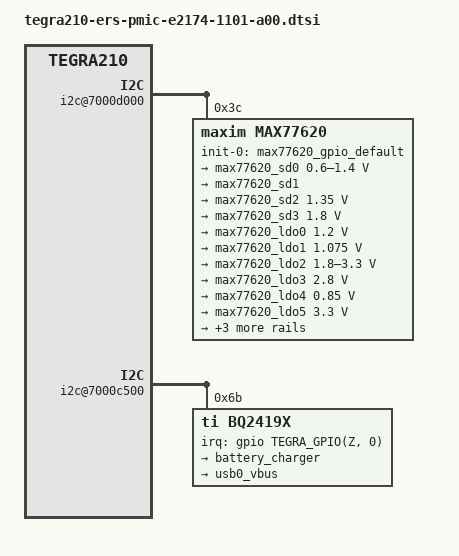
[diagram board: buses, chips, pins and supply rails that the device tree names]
/*
 * Copyright (c) 2014-2016, NVIDIA CORPORATION.  All rights reserved.
 *
 * This program is free software; you can redistribute it and/or modify
 * it under the terms of the GNU General Public License as published by
 * the Free Software Foundation; either version 2 of the License, or
 * (at your option) any later version.
 *
 * This program is distributed in the hope that it will be useful, but WITHOUT
 * ANY WARRANTY; without even the implied warranty of MERCHANTABILITY or
 * FITNESS FOR A PARTICULAR PURPOSE.  See the GNU General Public License for
 * more details.
 *
 * You should have received a copy of the GNU General Public License
 * along with this program.  If not, see <http://www.gnu.org/licenses/>.
 */

#include <dt-bindings/mfd/max77620.h>
#include <dt-bindings/regulator/regulator.h>
#include <dt-bindings/gpio/tegra-gpio.h>
#include <dt-bindings/thermal/thermal.h>
#include <dt-bindings/interrupt-controller/irq.h>

/ {
	i2c@7000d000 {
		nvidia,bit-banging-xfer-after-shutdown;

		cpu_max77621_reg: max77621@1b {
			compatible = "maxim,max77621";
			reg = <0x1b>;
			interrupts = <0 86 0>;
			interrupt-flags = <IRQF_SHARED>;
			status = "disabled";
			regulator-name = "vdd-cpu";
			regulator-min-microvolt = <606250>;
			regulator-max-microvolt = <1400000>;
			regulator-n-voltages = <128>;
			regulator-boot-on;
			regulator-always-on;
			#thermal-sensor-cells = <0>;
			maxim,externally-enable;
			maxim,sleep-on-dvs;
			maxim,dvs-default-state = <1>;
			maxim,enable-gpio = <&max77620 5 0>;
		};

		gpu_max77621_reg: max77621@1c {
			compatible = "maxim,max77621";
			reg = <0x1c>;
			interrupts = <0 86 0>;
			interrupt-flags = <IRQF_SHARED>;
			status = "disabled";
			regulator-name = "vdd-gpu";
			regulator-min-microvolt = <606250>;
			regulator-max-microvolt = <1400000>;
			regulator-init-microvolt = <1000000>;
			regulator-enable-ramp-delay = <200>;
			regulator-disable-ramp-delay = <60000>;
			regulator-boot-off;
			regulator-ramp-delay = <12000>;
			#thermal-sensor-cells = <0>;
			maxim,enable-active-discharge;
			maxim,enable-bias-control;
			maxim,dvs-default-state = <1>;
			maxim,enable-gpio = <&max77620 6 0>;
		};

		max77620: max77620@3c {
			compatible = "maxim,max77620";
			reg = <0x3c>;
			interrupts = <0 86 IRQ_TYPE_NONE>;

			#interrupt-cells = <2>;
                        interrupt-controller;

			gpio-controller;
			#gpio-cells = <2>;

			maxim,enable-clock32k-out;

			maxim,system-pmic-power-off;

			maxim,hot-die-threshold-temp = <110000>;
			#thermal-sensor-cells = <0>;

			pinctrl-names = "default";
			pinctrl-0 = <&max77620_default>;

			gpio-init-names = "default";
			gpio-init-0 = <&max77620_gpio_default>;

			max77620_default: pinmux@0 {
				pin_gpio0 {
					pins = "gpio0";
					function = "gpio";
				};

				pin_gpio1 {
					pins = "gpio1";
					function = "fps-out";
					drive-push-pull = <1>;
					maxim,active-fps-source = <MAX77620_FPS_SRC_0>;
					maxim,active-fps-power-up-slot = <7>;
					maxim,active-fps-power-down-slot = <0>;
				};

				pin_gpio2_3 {
					pins = "gpio2", "gpio3";
					function = "fps-out";
					drive-open-drain = <1>;
					maxim,active-fps-source = <MAX77620_FPS_SRC_0>;
				};

				pin_gpio4 {
					pins = "gpio4";
					function = "32k-out1";
				};

				pin_gpio5_6_7 {
					pins = "gpio5", "gpio6", "gpio7";
					function = "gpio";
					drive-push-pull = <1>;
				};
			};

			max77620_gpio_default:gpio_default {
				gpio-output-high = <2 7>;
			};

			watchdog {
				maxim,wdt-timeout = <16>;
				maxim,wdt-clear-time = <13>;
				status = "disabled";
				dt-override-status-odm-data = <0x00020000 0x00020000>;
			};

			fps {
				#address-cells = <1>;
				#size-cells = <0>;
				fps0 {
					reg = <0>;
					maxim,shutdown-fps-time-periodi-us = <5120>;
					maxim,fps-event-source = <MAX77620_FPS_EVENT_SRC_EN0>;
				};

				fps1 {
					reg = <1>;
					maxim,shutdown-fps-time-period-us = <5120>;
					maxim,fps-event-source = <MAX77620_FPS_EVENT_SRC_EN1>;
					maxim,device-state-on-disabled-event = <MAX77620_FPS_INACTIVE_STATE_SLEEP>;
				};

				fps2 {
					reg = <2>;
					maxim,fps-event-source = <MAX77620_FPS_EVENT_SRC_EN0>;
				};
			};

			backup-battery {
				maxim,backup-battery-charging-current = <100>;
				maxim,backup-battery-charging-voltage = <3000000>;
				maxim,backup-battery-output-resister = <100>;
			};

			regulators {
				in-ldo0-1-supply = <&max77620_sd2>;
				in-ldo7-8-supply = <&max77620_sd2>;

				max77620_sd0: sd0 {
					regulator-name = "vdd_core";
					regulator-min-microvolt = <600000>;
					regulator-max-microvolt = <1400000>;
					regulator-boot-on;
					regulator-always-on;
					maxim,active-fps-source = <MAX77620_FPS_SRC_1>;
					regulator-init-mode = <REGULATOR_MODE_NORMAL>;
					maxim,active-fps-power-up-slot = <0>;
				};

				max77620_sd1: sd1 {
					regulator-name = "vddio-ddr";
					regulator-always-on;
					regulator-boot-on;
					regulator-init-mode = <REGULATOR_MODE_NORMAL>;
					maxim,active-fps-source = <MAX77620_FPS_SRC_0>;
				};

				max77620_sd2: sd2 {
					regulator-name = "vdd-pre-reg";
					regulator-min-microvolt = <1350000>;
					regulator-max-microvolt = <1350000>;
					regulator-always-on;
					regulator-boot-on;
					maxim,active-fps-source = <MAX77620_FPS_SRC_NONE>;
				};

				max77620_sd3: sd3 {
					regulator-name = "vdd-1v8";
					regulator-min-microvolt = <1800000>;
					regulator-max-microvolt = <1800000>;
					regulator-always-on;
					regulator-boot-on;
					maxim,active-fps-source = <MAX77620_FPS_SRC_0>;
					regulator-init-mode = <REGULATOR_MODE_NORMAL>;
					consumers {
						c8 {
							regulator-consumer-supply = "avdd_pll_utmip";
							regulator-consumer-device = "tegra-ehci.1";
						};
						c9 {
							regulator-consumer-supply = "avdd_pll_utmip";
							regulator-consumer-device = "tegra-ehci.2";
						};
						c18 {
							regulator-consumer-supply = "vdd";
							regulator-consumer-device = "2-004c";
						};
						c19 {
							regulator-consumer-supply = "vdd";
							regulator-consumer-device = "0-004c";
						};
					};
				};

				max77620_ldo0: ldo0 {
					regulator-name = "avdd-sys";
					regulator-min-microvolt = <1200000>;
					regulator-max-microvolt = <1200000>;
					regulator-boot-on;
					maxim,active-fps-source = <MAX77620_FPS_SRC_NONE>;
					consumers {
						c0 {
							regulator-consumer-supply = "vddio_hsic";
							regulator-consumer-device = "tegra-ehci.1";
						};
						c1 {
							regulator-consumer-supply = "vddio_hsic";
							regulator-consumer-device = "tegra-ehci.2";
						};
					};
				};

				max77620_ldo1: ldo1 {
					regulator-name = "vdd-pex";
					regulator-min-microvolt = <1075000>;
					regulator-max-microvolt = <1075000>;
					regulator-always-on;
					maxim,active-fps-source = <MAX77620_FPS_SRC_1>;
				};

				max77620_ldo2: ldo2 {
					regulator-name = "vddio-sdmmc3";
					regulator-min-microvolt = <1800000>;
					regulator-max-microvolt = <3300000>;
					maxim,active-fps-source = <MAX77620_FPS_SRC_NONE>;
				};

				max77620_ldo3: ldo3 {
					regulator-name = "vdd-cam-hv";
					regulator-min-microvolt = <2800000>;
					regulator-max-microvolt = <2800000>;
					maxim,active-fps-source = <MAX77620_FPS_SRC_NONE>;
					consumers {
						c0 {
							regulator-consumer-supply = "vana";
						};
					};
				};

				max77620_ldo4: ldo4 {
					regulator-name = "vdd-rtc";
					regulator-min-microvolt = <850000>;
					regulator-max-microvolt = <850000>;
					regulator-always-on;
					regulator-boot-on;
					maxim,active-fps-source = <MAX77620_FPS_SRC_0>;
				};

				max77620_ldo5: ldo5 {
					regulator-name = "avdd-ts-hv";
					regulator-min-microvolt = <3300000>;
					regulator-max-microvolt = <3300000>;
					maxim,active-fps-source = <MAX77620_FPS_SRC_NONE>;
					consumers {
						c1 {
							regulator-consumer-supply = "avdd";
							regulator-consumer-device = "spi3.0";
						};
					};
				};

				max77620_ldo6: ldo6 {
					regulator-name = "vdd-ts";
					regulator-min-microvolt = <1800000>;
					regulator-max-microvolt = <1800000>;
					regulator-boot-on;
					maxim,active-fps-source = <MAX77620_FPS_SRC_NONE>;
					consumers {
						c1 {
							regulator-consumer-supply = "dvdd";
							regulator-consumer-device = "spi3.0";
						};
					};
				};

				max77620_ldo7: ldo7 {
					regulator-name = "vdd-gen-pll-edp";
					regulator-min-microvolt = <1050000>;
					regulator-max-microvolt = <1050000>;
					regulator-always-on;
					regulator-boot-on;
					maxim,active-fps-source = <MAX77620_FPS_SRC_1>;
				};

				max77620_ldo8: ldo8 {
					regulator-name = "vdd-hdmi-dp";
					regulator-min-microvolt = <1050000>;
					regulator-max-microvolt = <1050000>;
					regulator-boot-on;
					regulator-always-on;
					maxim,active-fps-source = <MAX77620_FPS_SRC_1>;
				};
			};
		};
	};

	i2c@7000c500 {
		bq2419x: battery-charger@6b {
			compatible = "ti,bq2419x";
			reg = <0x6b>;

			interrupt-parent = <&gpio>;
			interrupts = <TEGRA_GPIO(Z, 0) 0x0>;
			#extcon-cells = <1>;

			#thermal-sensor-cells = <0>;

			battery_charger: charger {
				status = "disabled";
				regulator-name = "batt_regulator";
				regulator-max-microamp = <3000000>;
				ti,disbale-suspend-during-charging;
				ti,charge-voltage-limit-millivolt = <4200>;
				ti,charge-term-current-limit-milliamp = <384>;
				ti,ir-comp-voltage-millivolt = <112>;
				ti,ir-comp-resister-ohm = <70>;
				ti,pre-charge-current-limit-milliamp = <768>;
				ti,thermal-regulation-threshold-degc = <120>;
			};

			usb0_vbus: vbus {
				regulator-name = "vbus_regulator";
			};
		};

		battery-gauge@55 {
			status = "disabled";
			compatible = "ti,bq27441";
			reg = <0x55>;
			ti,design-capacity = <7800>;
			ti,design-energy = <28080>;
			ti,taper-rate = <190>;
			ti,terminate-voltage = <2800>;
			ti,v-at-chg-term = <4190>;
			ti,cc-gain = <0x7F7806C9>;
			ti,cc-delta = <0x940D197A>;
			ti,qmax-cell = <16384>;
			ti,reserve-cap-mah = <100>;
		};
	};

	dummy_cool_dev: dummy-cool-dev {
		compatible = "dummy-cooling-dev";
		#cooling-cells = <2>; /* min followed by max */
	};

	thermal-zones {
		PMIC-Die {
			polling-delay = <0>; /* milliseconds */
			polling-delay-passive = <0>; /* milliseconds */

			thermal-sensors = <&max77620>;
			trips {
				die_temp_thresh: hot-die {
					temperature = <120000>;
					type = "active";
					hysteresis = <0>;
				};
			};

			cooling-maps {
				map0 {
					trip = <&die_temp_thresh>;
					cooling-device = <&dummy_cool_dev THERMAL_NO_LIMIT
								THERMAL_NO_LIMIT>;
					contribution = <100>;
					cdev-type = "emergency-balanced";
				};
			};
		};

		PMIC-Die-max77621-0 {
			status = "disabled";
			polling-delay = <0>; /* milliseconds */
			polling-delay-passive = <0>; /* milliseconds */
			thermal-sensors = <&cpu_max77621_reg>;

			trips {
				die_temp_thresh_max77621_0: hot-die {
					temperature = <120000>;
					type = "active";
					hysteresis = <0>;
				};
			};

			cooling-maps {
				map0 {
					trip = <&die_temp_thresh_max77621_0>;
					cooling-device = <&dummy_cool_dev THERMAL_NO_LIMIT
								THERMAL_NO_LIMIT>;
					contribution = <100>;
					cdev-type = "emergency-balanced";
				};
			};
		};

		PMIC-Die-max77621-1 {
			status = "disabled";
			polling-delay = <0>; /* milliseconds */
			polling-delay-passive = <0>; /* milliseconds */
			thermal-sensors = <&gpu_max77621_reg>;

			trips {
				die_temp_thresh_max77621_1: hot-die {
					temperature = <120000>;
					type = "active";
					hysteresis = <0>;
				};
			};

			cooling-maps {
				map0 {
					trip = <&die_temp_thresh_max77621_1>;
					cooling-device = <&dummy_cool_dev THERMAL_NO_LIMIT
								THERMAL_NO_LIMIT>;
					contribution = <100>;
					cdev-type = "emergency-balanced";
				};
			};
		};

		Charger-Die {
			status = "disabled";
			polling-delay = <0>; /* milliseconds */
			polling-delay-passive = <0>; /* milliseconds */

			thermal-sensors = <&bq2419x>;
			trips {
				die_temp_thresh_chg: hot-die {
					temperature = <120000>;
					type = "active";
					hysteresis = <0>;
				};
			};

			cooling-maps {
				map0 {
					trip = <&die_temp_thresh_chg>;
					cooling-device = <&dummy_cool_dev THERMAL_NO_LIMIT
								THERMAL_NO_LIMIT>;
					contribution = <100>;
					cdev-type = "emergency-balanced";
				};
			};
		};
	};

	extcon {
		compatible = "simple-bus";
		device_type = "external-connection";
		#address-cells = <1>;
		#size-cells = <0>;
	};

	soft_watchdog {
		compatible = "softdog-platform";
		status = "disabled";
		dt-override-status-odm-data = <0x00030000 0x00000000>;
	};
};
